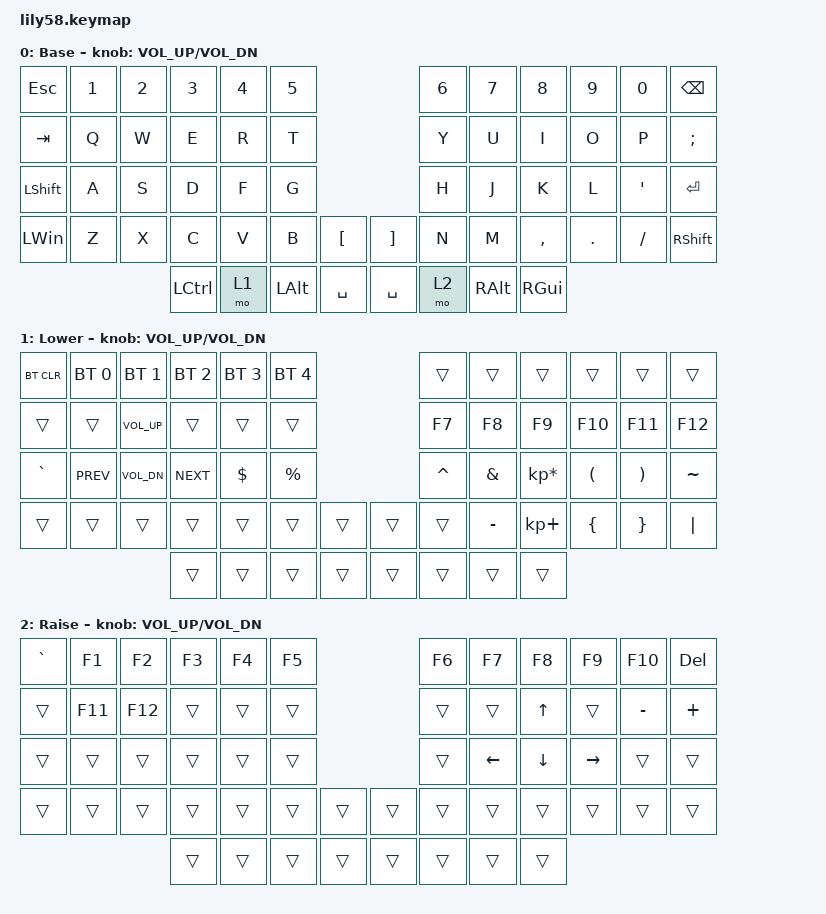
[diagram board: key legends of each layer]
/*
 * Copyright (c) 2020 The ZMK Contributors
 *
 * SPDX-License-Identifier: MIT
 */

#include <behaviors.dtsi>
#include <dt-bindings/zmk/bt.h>
#include <dt-bindings/zmk/keys.h>

/ {
    keymap {
        compatible = "zmk,keymap";

        default_layer {
            // ------------------------------------------------------------------------------------------------------------
            // |  ESC  |  1  |  2  |  3   |  4   |  5   |                   |  6   |  7    |  8    |  9   |   0   |   `   |
            // |  TAB  |  Q  |  W  |  E   |  R   |  T   |                   |  Y   |  U    |  I    |  O   |   P   |   -   |
            // |  CTRL |  A  |  S  |  D   |  F   |  G   |                   |  H   |  J    |  K    |  L   |   ;   |   '   |
            // | SHIFT |  Z  |  X  |  C   |  V   |  B   |   "["  |  |  "]"  |  N   |  M    |  ,    |  .   |   /   | SHIFT |
            //                     | ALT  | GUI  | LOWER|  SPACE |  | ENTER | RAISE| BSPC  | GUI   |

            display-name = "Base";
            bindings = <
&kp ESC         &kp N1  &kp N2  &kp N3            &kp N4  &kp N5                                &kp N6  &kp N7         &kp N8     &kp N9   &kp N0            &kp BACKSPACE
&kp TAB         &kp Q   &kp W   &kp E             &kp R   &kp T                                 &kp Y   &kp U          &kp I      &kp O    &kp P             &kp SEMICOLON
&kp LEFT_SHIFT  &kp A   &kp S   &kp D             &kp F   &kp G                                 &kp H   &kp J          &kp K      &kp L    &kp SINGLE_QUOTE  &kp ENTER
&kp LEFT_WIN    &kp Z   &kp X   &kp C             &kp V   &kp B         &kp LBKT     &kp RBKT   &kp N   &kp M          &kp COMMA  &kp DOT  &kp FSLH          &kp RSHFT
                                &kp LEFT_CONTROL  &mo 1   &kp LEFT_ALT  &kp SPACE    &kp SPACE  &mo 2   &kp RIGHT_ALT  &kp RGUI
            >;

            sensor-bindings = <&inc_dec_kp C_VOL_UP C_VOL_DN>;
        };

        lower_layer {
            // ------------------------------------------------------------------------------------------------------------
            // | BTCLR | BT1 | BT2 |  BT3 |  BT4 |  BT5 |                   |      |       |       |      |       |       |
            // |  F1   |  F2 |  F3 |  F4  |  F5  |  F6  |                   |  F7  |  F8   |  F9   |  F10 |  F11  |  F12  |
            // |   `   |  !  |  @  |  #   |  $   |  %   |                   |  ^   |  &    |  *    |  (   |   )   |   ~   |
            // |       |     |     |      |      |      |        |  |       |      |  _    |  +    |  {   |   }   |  "|"  |
            //                     |      |      |      |        |  |       |      |       |       |

            display-name = "Lower";
            bindings = <
&bt BT_CLR  &bt BT_SEL 0  &bt BT_SEL 1  &bt BT_SEL 2  &bt BT_SEL 3  &bt BT_SEL 4                    &trans     &trans     &trans           &trans    &trans    &trans
&trans      &trans        &kp C_VOL_UP  &trans        &trans        &trans                          &kp F7     &kp F8     &kp F9           &kp F10   &kp F11   &kp F12
&kp GRAVE   &kp K_PREV    &kp C_VOL_DN  &kp C_NEXT    &kp DOLLAR    &kp PRCNT                       &kp CARET  &kp AMPS   &kp KP_MULTIPLY  &kp LPAR  &kp RPAR  &kp TILDE
&trans      &trans        &trans        &trans        &trans        &trans        &trans    &trans  &trans     &kp MINUS  &kp KP_PLUS      &kp LBRC  &kp RBRC  &kp PIPE
                                        &trans        &trans        &trans        &trans    &trans  &trans     &trans     &trans
            >;

            sensor-bindings = <&inc_dec_kp C_VOL_UP C_VOL_DN>;
        };

        raise_layer {
            // ------------------------------------------------------------------------------------------------------------
            // |       |     |     |      |      |      |                   |      |       |       |      |       |       |
            // |   `   |  1  |  2  |  3   |  4   |  5   |                   |  6   |   7   |   8   |  9   |   0   |       |
            // |   F1  |  F2 |  F3 |  F4  |  F5  |  F6  |                   |      |   <-  |   v   |  ^   |  ->   |       |
            // |   F7  |  F8 |  F9 |  F10 |  F11 |  F12 |        |  |       |  +   |   -   |   =   |  [   |   ]   |   \   |
            //                     |      |      |      |        |  |       |      |       |       |

            display-name = "Raise";
            bindings = <
&kp GRAVE  &kp F1   &kp F2   &kp F3  &kp F4  &kp F5                    &kp F6  &kp F7    &kp F8        &kp F9     &kp F10    &kp DELETE
&trans     &kp F11  &kp F12  &trans  &trans  &trans                    &trans  &trans    &kp UP_ARROW  &trans     &kp MINUS  &kp PLUS
&trans     &trans   &trans   &trans  &trans  &trans                    &trans  &kp LEFT  &kp DOWN      &kp RIGHT  &trans     &trans
&trans     &trans   &trans   &trans  &trans  &trans  &trans    &trans  &trans  &trans    &trans        &trans     &trans     &trans
                             &trans  &trans  &trans  &trans    &trans  &trans  &trans    &trans
            >;

            sensor-bindings = <&inc_dec_kp C_VOL_UP C_VOL_DN>;
        };

        extra_1 { status = "reserved"; };

        extra_2 { status = "reserved"; };

        extra_3 { status = "reserved"; };
    };
};
